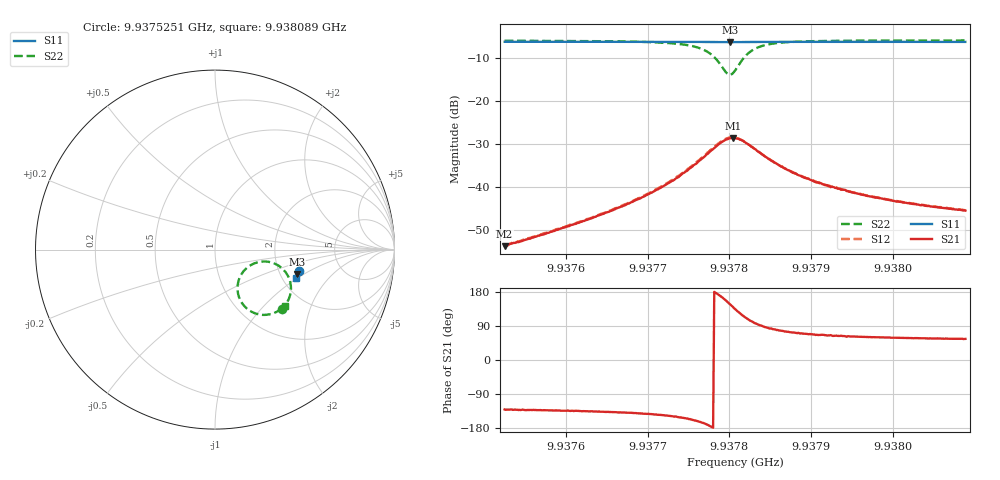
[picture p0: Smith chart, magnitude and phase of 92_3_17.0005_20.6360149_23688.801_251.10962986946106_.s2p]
#  HZ  S  RI  R  50.00
! Rohde & Schwarz Vector Network Analyzer
! Rohde-Schwarz,ZNB20-2Port,1311601062101988,3.16
! Created: UTC 3/20/2024, 10:56:11 PM
! freq[Hz]  re:S11  im:S11  re:S21  im:S21  re:S12  im:S12  re:S22  im:S22
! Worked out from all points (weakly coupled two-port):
!   401 points, 9.9375251 GHz to 9.938089 GHz, reference 50 ohm
!   highest |S21| = -28.67 dB at 9.9378042 GHz (marker M1); lowest = -53.7 dB at 9.9375251 GHz (marker M2)
!   lowest |S11| = -6.4 dB at 9.9378014 GHz (marker M3), VSWR 2.82, Z = 123 - j43.7 ohm
!   |S11| at or under -10 dB: nowhere
!   |S22| runs from -14.0 to -6.0 dB; largest |S21 - S12| = 0.0021
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9.93752509e9  0.4671 -0.1209  -0.00134 -0.00157  -0.00139 -0.00155  0.3716 -0.3282
9.93761954e9  0.4647 -0.1274  -0.00282 -0.00279  -0.00289 -0.00279  0.3539 -0.3409
9.93767171e9  0.4634 -0.1311  -0.00459 -0.00405  -0.00472 -0.00409  0.3352 -0.3508
9.937714e9  0.4621 -0.134  -0.00781 -0.00554  -0.00808 -0.00553  0.3053 -0.3605
9.93773515e9  0.4612 -0.1357  -0.0109 -0.00647  -0.0113 -0.00627  0.2776 -0.3638
9.93775347e9  0.4603 -0.1368  -0.0156 -0.00659  -0.016 -0.00644  0.2395 -0.3599
9.93776757e9  0.4592 -0.1378  -0.021 -0.0053  -0.0218 -0.00498  0.1955 -0.3414
9.93777885e9  0.4584 -0.1381  -0.0268 -0.00146  -0.0277 -0.000723  0.153 -0.3015
9.93778872e9  0.4573 -0.1382  -0.0316 0.00591  -0.0324 0.0071  0.1266 -0.2343
9.93779718e9  0.4566 -0.1377  -0.0322 0.0153  -0.0322 0.0172  0.1377 -0.1558
9.9378014e9  0.4567 -0.1372  -0.0305 0.0205  -0.0303 0.0223  0.1608 -0.1181
9.93780422e9  0.4568 -0.1369  -0.0285 0.0233  -0.0279 0.0254  0.1824 -0.0979
9.93780704e9  0.4571 -0.1368  -0.0257 0.0262  -0.0251 0.0278  0.2074 -0.082
9.93781409e9  0.4577 -0.1365  -0.0184 0.0301  -0.017 0.031  0.2736 -0.0661
9.93782114e9  0.4584 -0.1369  -0.0112 0.0301  -0.00996 0.0308  0.3304 -0.0773
9.93782819e9  0.4588 -0.1374  -0.0057 0.0285  -0.00436 0.0287  0.3702 -0.1013
9.93783665e9  0.4593 -0.1383  -0.00107 0.0252  -0.000254 0.0254  0.3984 -0.133
9.93786907e9  0.4595 -0.1413  0.00413 0.0157  0.00459 0.0155  0.4231 -0.2165
9.9379015e9  0.4587 -0.1438  0.00446 0.011  0.00483 0.011  0.4178 -0.2552
9.93794661e9  0.4575 -0.1473  0.00409 0.00783  0.00428 0.00782  0.4081 -0.2815
9.93799595e9  0.4564 -0.1506  0.0036 0.00608  0.00378 0.00602  0.3996 -0.2974
9.938089e9  0.4538 -0.1568  0.003 0.00441  0.00314 0.00437  0.3877 -0.3141
